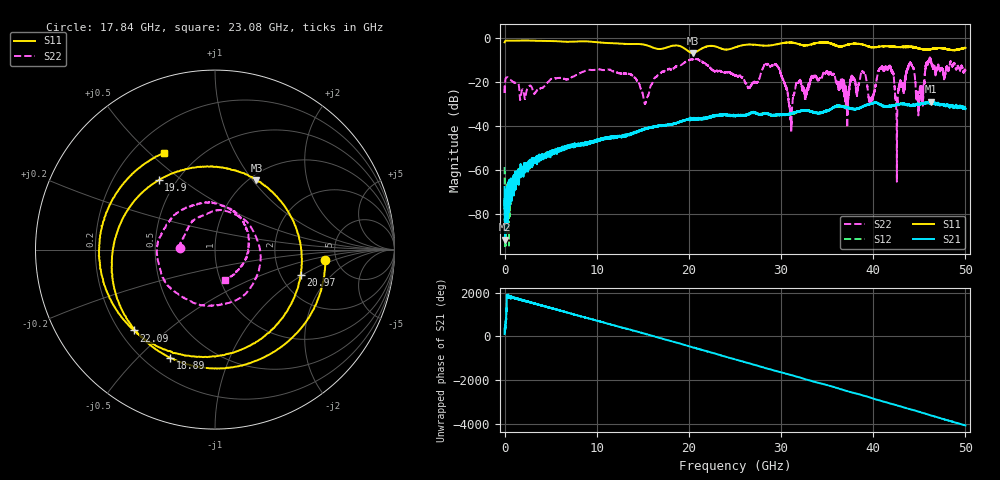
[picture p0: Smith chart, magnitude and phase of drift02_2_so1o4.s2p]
!Created with skrf (http://scikit-rf.org).
# Hz S RI R 50.0
!freq ReS11 ImS11 ReS21 ImS21 ReS12 ImS12 ReS22 ImS22
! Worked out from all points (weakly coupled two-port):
!   10001 points, 300 kHz to 50 GHz, reference 50 ohm
!   highest |S21| = -29.12 dB at 46.22 GHz (marker M1); lowest = -91.6 dB at 55.3 MHz (marker M2)
!   lowest |S11| = -7.0 dB at 20.4 GHz (marker M3), VSWR 2.63, Z = 53.9 + j52.1 ohm
!   |S11| at or under -10 dB: nowhere
!   |S22| runs from -65.3 to -9.0 dB; largest |S21 - S12| = 0.0036
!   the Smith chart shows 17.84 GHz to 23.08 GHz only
!   S11 on the Smith chart (normalised r, x): 17.84 GHz: 4.06, -0.77; 18.89 GHz: 0.30, -0.63; 19.9 GHz: 0.40, +0.41; 20.97 GHz: 2.57, -0.95; 22.09 GHz: 0.26, -0.39; 23.08 GHz: 0.32, +0.56
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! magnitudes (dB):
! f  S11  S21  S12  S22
! 300 kHz  -2.1  -67.7  -58.7  -21.8
! 55.3 MHz  -1.6  -91.6  -72.4  -20.3
! 8.335 GHz  -1.7  -48.1  -48.5  -15.8
! 15.3 GHz  -3.4  -41.3  -41.4  -29.5
! 16.67 GHz  -5.2  -40.1  -40.1  -16.7
! 17.84 GHz  -4.2  -39.4  -39.4  -14.1
! 18.89 GHz  -3.7  -38.5  -38.5  -12.7
! 19.9 GHz  -6.0  -37.2  -37.0  -10.3
! 20.4 GHz  -7.0  -36.9  -36.8  -9.9
! 20.97 GHz  -6.1  -36.7  -37.1  -9.9
! 22.09 GHz  -3.9  -36.3  -36.5  -12.8
! 23.08 GHz  -4.3  -35.6  -35.4  -15.1
! 25 GHz  -4.5  -35.3  -35.3  -17.0
! 29.5 GHz  -3.1  -35.3  -35.3  -12.5
! 31.04 GHz  -2.3  -34.6  -34.7  -37.6
! 33.34 GHz  -3.0  -33.5  -33.5  -17.8
! 38.91 GHz  -3.3  -31.3  -31.2  -15.9
! 39.74 GHz  -4.3  -30.1  -29.9  -28.5
! 41.67 GHz  -4.0  -31.2  -31.1  -13.4
! 42.56 GHz  -4.3  -30.5  -30.2  -53.0
! 46.22 GHz  -5.3  -29.1  -29.2  -10.3
! 50 GHz  -4.7  -32.2  -32.1  -14.8
